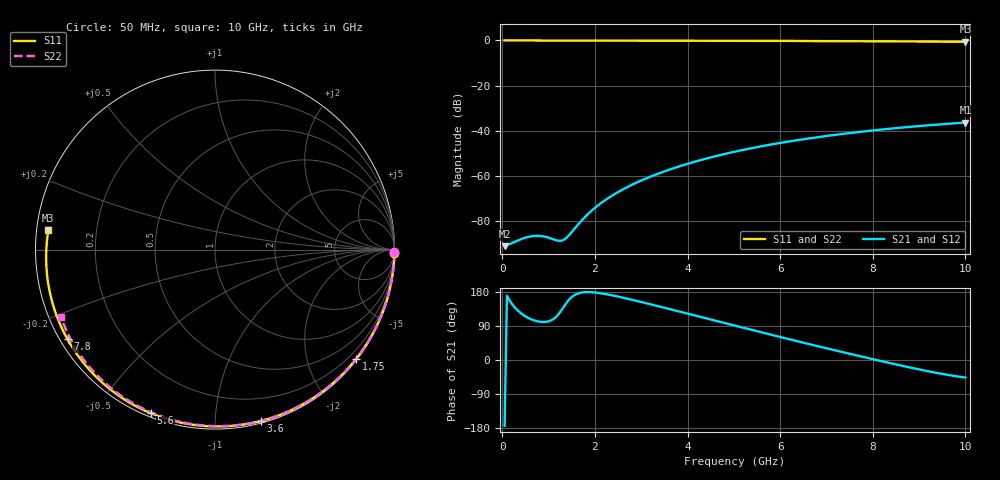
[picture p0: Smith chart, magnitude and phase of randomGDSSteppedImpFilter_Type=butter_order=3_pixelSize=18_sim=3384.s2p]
! freq	dB(S11)	phase(S11)	dB(S12)	phase(S12)
!  dB(S21)	phase(S21)	dB(S22)	phase(S22)
!S-par simulation data
#  GHz  S  DB  R 50
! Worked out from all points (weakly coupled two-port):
!   200 points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, 50 MHz to 10 GHz, reference 50 ohm
!   highest |S21| = -36.35 dB at 10 GHz (marker M1); lowest = -91.1 dB at 50 MHz (marker M2)
!   lowest |S11| = -0.6 dB at 10 GHz (marker M3), VSWR 29.60, Z = 1.69 + j2.89 ohm
!   |S11| at or under -10 dB: nowhere
!   |S22| runs from -0.6 to 0.0 dB; largest |S21 - S12| = 0
!   S11 on the Smith chart (normalised r, x): 50 MHz: open; 1.75 GHz: 0.03, -2.93; 3.6 GHz: 0.02, -1.31; 5.6 GHz: 0.02, -0.68; 7.8 GHz: 0.02, -0.28; 10 GHz: 0.03, +0.06
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0.05  -0.00 -1.1  -91.10 -173.4  -91.10 -173.4  -0.00 -0.9
0.45  -0.01 -9.9  -87.66 119.3  -87.66 119.3  -0.01 -7.9
0.85  -0.02 -18.6  -86.65 100.4  -86.65 100.4  -0.02 -14.9
1.25  -0.03 -27.2  -88.73 126.7  -88.73 126.7  -0.03 -21.8
1.7  -0.05 -36.7  -80.05 177.6  -80.05 177.6  -0.04 -29.5
1.75  -0.05 -37.7  -78.94 178.6  -78.94 178.6  -0.04 -30.4
2.05  -0.06 -44.0  -73.32 177.5  -73.32 177.5  -0.04 -35.4
2.25  -0.06 -48.1  -70.32 173.6  -70.32 173.6  -0.05 -38.8
2.45  -0.07 -52.2  -67.74 168.7  -67.74 168.7  -0.05 -42.1
2.9  -0.08 -61.2  -62.95 156.0  -62.95 156.0  -0.06 -49.5
3.4  -0.09 -71.1  -58.73 141.0  -58.73 141.0  -0.08 -57.6
3.6  -0.10 -74.9  -57.27 134.9  -57.27 134.9  -0.08 -60.8
4.3  -0.12 -88.1  -52.88 113.2  -52.88 113.2  -0.10 -71.8
5.05  -0.16 -101.7  -49.13 89.9  -49.13 89.9  -0.13 -83.2
5.6  -0.18 -111.4  -46.84 73.0  -46.84 73.0  -0.15 -91.4
6.15  -0.21 -120.9  -44.87 56.2  -44.87 56.2  -0.18 -99.4
6.7  -0.25 -130.2  -43.15 39.8  -43.15 39.8  -0.21 -107.2
7.25  -0.29 -139.4  -41.65 23.6  -41.65 23.6  -0.24 -115.0
7.8  -0.34 -148.7  -40.31 7.8  -40.31 7.8  -0.28 -122.7
8.35  -0.39 -157.9  -39.13 -7.6  -39.13 -7.6  -0.33 -130.5
9.2  -0.49 -172.5  -37.57 -29.8  -37.57 -29.8  -0.43 -143.0
10  -0.59 173.4  -36.35 -46.2  -36.35 -46.2  -0.58 -156.4
